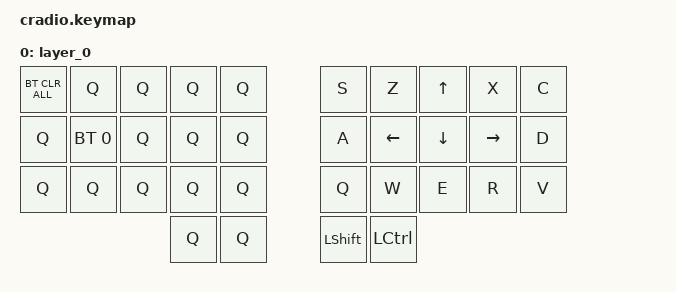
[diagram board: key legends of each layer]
#include <behaviors.dtsi>
#include <dt-bindings/zmk/bt.h>
#include <dt-bindings/zmk/keys.h>

/ {
    keymap {
        compatible = "zmk,keymap";

        layer_0 {
            bindings = <
&bt BT_CLR_ALL  &kp Q         &kp Q  &kp Q  &kp Q    &kp S      &kp Z      &kp UP    &kp X      &kp C
&kp Q           &bt BT_SEL 0  &kp Q  &kp Q  &kp Q    &kp A      &kp LEFT   &kp DOWN  &kp RIGHT  &kp D
&kp Q           &kp Q         &kp Q  &kp Q  &kp Q    &kp Q      &kp W      &kp E     &kp R      &kp V
                                     &kp Q  &kp Q    &kp LSHFT  &kp LCTRL
            >;
        };
    };
};
